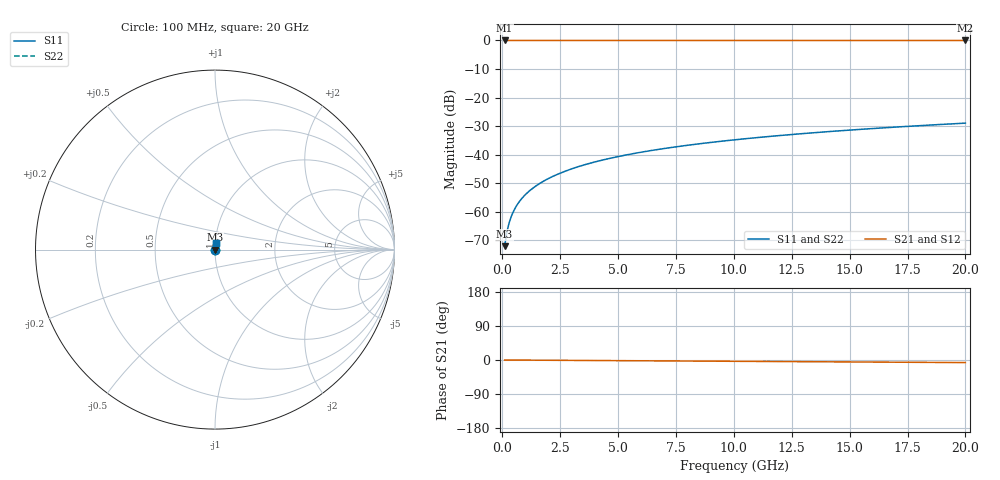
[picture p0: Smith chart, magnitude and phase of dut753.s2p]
! Touchstone file exported from HFSS 2026.1.0
!  File:  C:/ffzhzh/LocalFiles/Ansys_Project_Files/temp_train_TSV_753_1783183065_55132.aedt
!  Generated:  12:39:31 AM Jul  5, 2026
!  Design:  TSV
!  Project:  temp_train_TSV_753_1783183065_55132
! Variables:
!  h_bsmrdl = 2um
!  h_ox = 20um
!  h_rdl = 5um
!  h_sub = 59.81um
!  h_tmrdl = 5um
!  h_tsv = 59.81um
!  h_via = 3um
!  l_bsmrdl = 300um
!  l_sub = 417um
!  l_tmrdl = 200um
!  m_sub = 200um
!  pitch = 49.43um
!  r_tsv = 8.5um
!  s_tmrdl = 10um
!  w_bsmrdl = 18um
!  w_sub = 500um
!  w_tmrdl = 12um
!  x_tsv_center1 = 206um
!  x_tsv_center2 = 524um
!  x_tsv_center3 = 736um
!  x_tsv_center4 = 1054um
!  x_tsv_center5 = 1266um
!  x_tsv_center6 = 1584um
# GHz S MA R 50.000000
! Terminal data exported
! Port[1] = TSV1_1_T1
! Port[2] = TSV1_1_T2
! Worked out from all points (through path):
!   200 points, 100 MHz to 20 GHz, reference 50 ohm
!   highest |S21| = 0.00 dB at 100 MHz (marker M1); lowest = 0.0 dB at 20 GHz (marker M2)
!   lowest |S11| = -72.1 dB at 100 MHz (marker M3), VSWR 1.00, Z = 50 + j0.0212 ohm
!   |S11| at or under -10 dB: start of sweep to end of sweep
!   |S22| runs from -72.1 to -29.0 dB; largest |S21 - S12| = 3e-15
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0.1  0.0002483 58.6  0.9999 -0.0  0.9999 -0.0  0.0002483 58.6
! Gamma 0 0 0 0
! Port Impedance 50 0 50 0
0.2  0.0004439 71.8  0.9999 -0.1  0.9999 -0.1  0.0004439 71.8
0.3  0.0006464 76.4  0.9998 -0.1  0.9998 -0.1  0.0006464 76.4
0.4  0.0008477 78.5  0.9998 -0.1  0.9998 -0.1  0.0008477 78.5
0.5  0.001046 79.6  0.9998 -0.2  0.9998 -0.2  0.001046 79.6
0.6  0.00124 80.4  0.9998 -0.2  0.9998 -0.2  0.00124 80.4
0.7  0.001432 80.9  0.9998 -0.2  0.9998 -0.2  0.001432 80.9
0.8  0.00162 81.3  0.9998 -0.3  0.9998 -0.3  0.00162 81.3
1  0.001992 82.0  0.9997 -0.4  0.9997 -0.4  0.001992 82.0
1.4  0.002725 82.9  0.9997 -0.5  0.9997 -0.5  0.002725 82.9
1.7  0.00327 83.5  0.9997 -0.6  0.9997 -0.6  0.00327 83.5
2  0.003815 83.9  0.9996 -0.7  0.9996 -0.7  0.003815 83.9
2.7  0.005085 84.4  0.9996 -0.9  0.9996 -0.9  0.005085 84.4
3.5  0.006532 84.7  0.9995 -1.2  0.9995 -1.2  0.006532 84.7
4.2  0.007793 84.8  0.9995 -1.4  0.9995 -1.4  0.007793 84.8
5  0.009227 84.9  0.9994 -1.7  0.9994 -1.7  0.009227 84.9
6.8  0.01243 84.7  0.9993 -2.3  0.9993 -2.3  0.01243 84.7
8.3  0.01509 84.4  0.9992 -2.8  0.9992 -2.8  0.01509 84.4
10.1  0.01827 84.1  0.999 -3.5  0.999 -3.5  0.01827 84.1
13.4  0.02407 83.3  0.9988 -4.6  0.9988 -4.6  0.02407 83.3
16.7  0.02983 82.4  0.9985 -5.7  0.9985 -5.7  0.02983 82.4
20  0.03556 81.4  0.9983 -6.8  0.9983 -6.8  0.03556 81.4
